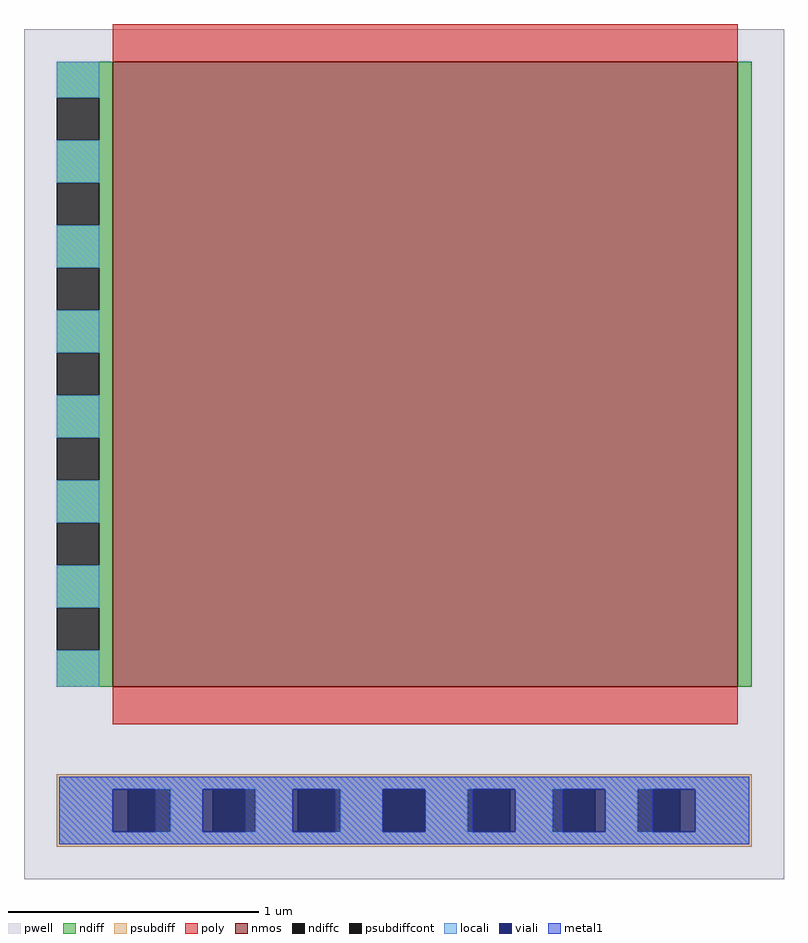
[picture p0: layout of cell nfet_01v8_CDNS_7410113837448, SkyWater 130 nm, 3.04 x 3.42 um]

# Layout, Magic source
magic
tech sky130A
magscale 1 2
<< pwell >>
rect -71 -154 537 526
<< nmos >>
rect 0 0 500 500
<< ndiff >>
rect -45 471 0 500
rect -11 437 0 471
rect -45 403 0 437
rect -11 369 0 403
rect -45 335 0 369
rect -11 301 0 335
rect -45 267 0 301
rect -11 233 0 267
rect -45 199 0 233
rect -11 165 0 199
rect -45 131 0 165
rect -11 97 0 131
rect -45 63 0 97
rect -11 29 0 63
rect -45 0 0 29
rect 500 0 511 500
<< ndiffc >>
rect -45 437 -11 471
rect -45 369 -11 403
rect -45 301 -11 335
rect -45 233 -11 267
rect -45 165 -11 199
rect -45 97 -11 131
rect -45 29 -11 63
<< psubdiff >>
rect -45 -82 511 -70
rect -45 -116 12 -82
rect 46 -116 80 -82
rect 114 -116 148 -82
rect 182 -116 216 -82
rect 250 -116 284 -82
rect 318 -116 352 -82
rect 386 -116 420 -82
rect 454 -116 511 -82
rect -45 -128 511 -116
<< psubdiffcont >>
rect 12 -116 46 -82
rect 80 -116 114 -82
rect 148 -116 182 -82
rect 216 -116 250 -82
rect 284 -116 318 -82
rect 352 -116 386 -82
rect 420 -116 454 -82
<< poly >>
rect 0 500 500 530
rect 0 -30 500 0
<< locali >>
rect -45 471 -11 500
rect -45 403 -11 437
rect -45 335 -11 369
rect -45 267 -11 301
rect -45 199 -11 233
rect -45 131 -11 165
rect -45 63 -11 97
rect -45 0 -11 29
rect -43 -82 509 -72
rect -43 -116 0 -82
rect 46 -116 72 -82
rect 114 -116 144 -82
rect 182 -116 216 -82
rect 250 -116 284 -82
rect 322 -116 352 -82
rect 394 -116 420 -82
rect 466 -116 509 -82
rect -43 -126 509 -116
<< viali >>
rect 0 -116 12 -82
rect 12 -116 34 -82
rect 72 -116 80 -82
rect 80 -116 106 -82
rect 144 -116 148 -82
rect 148 -116 178 -82
rect 216 -116 250 -82
rect 288 -116 318 -82
rect 318 -116 322 -82
rect 360 -116 386 -82
rect 386 -116 394 -82
rect 432 -116 454 -82
rect 454 -116 466 -82
<< metal1 >>
rect -43 -82 509 -72
rect -43 -116 0 -82
rect 34 -116 72 -82
rect 106 -116 144 -82
rect 178 -116 216 -82
rect 250 -116 288 -82
rect 322 -116 360 -82
rect 394 -116 432 -82
rect 466 -116 509 -82
rect -43 -126 509 -116
<< end >>
